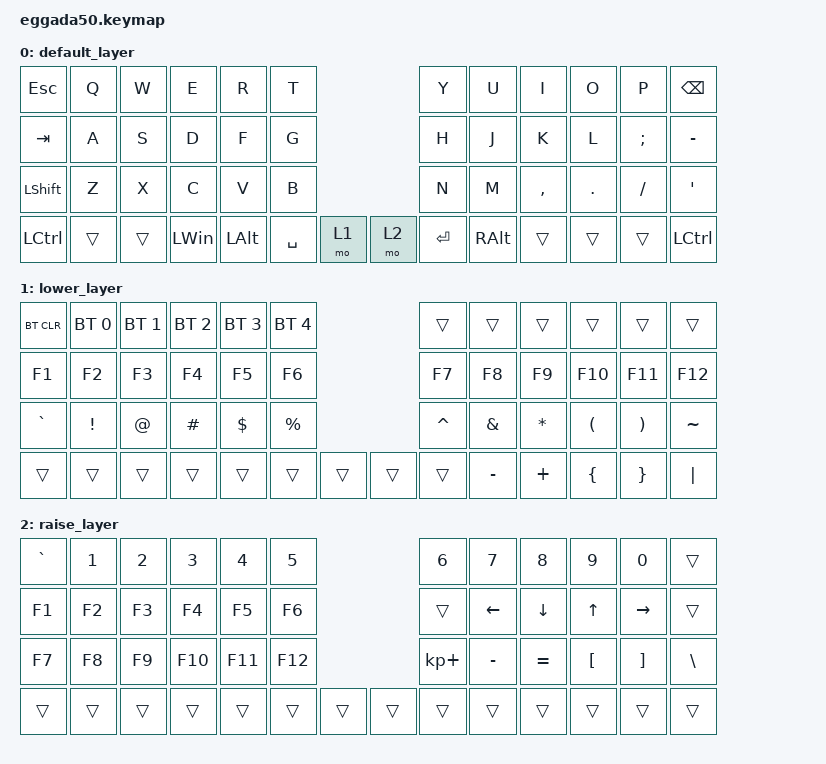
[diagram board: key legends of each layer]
/*
 * Copyright (c) 2020 The ZMK Contributors
 *
 * SPDX-License-Identifier: MIT
 */

#include <behaviors.dtsi>
#include <dt-bindings/zmk/bt.h>
#include <dt-bindings/zmk/keys.h>

/ {
    keymap {
        compatible = "zmk,keymap";

        default_layer {
            // ------------------------------------------------------------------------------------------------------------
            // |  ESC  |  Q  |  W  |  E   |  R   |  T   |                   |  Y   |  U    |  I    |  O   |   P   | BSPC  |
            // |  TAB  |  A  |  S  |  D   |  F   |  G   |                   |  H   |  J    |  K    |  L   |   ;   |   -   |
            // |  CTRL |  Z  |  X  |  C   |  V   |  B   |                   |  N   |  M    |  ,    |  .   |   /   |   '   |
            // | SHIFT |     |     |      |      | LOWER|  SPACE |  | ENTER | RAISE|       |       |      |       | SHIFT |

            bindings = <
&kp ESC           &kp Q   &kp W   &kp E     &kp R         &kp T                      &kp Y      &kp U          &kp I      &kp O    &kp P     &kp BSPC
&kp TAB           &kp A   &kp S   &kp D     &kp F         &kp G                      &kp H      &kp J          &kp K      &kp L    &kp SEMI  &kp MINUS
&kp LEFT_SHIFT    &kp Z   &kp X   &kp C     &kp V         &kp B                      &kp N      &kp M          &kp COMMA  &kp DOT  &kp FSLH  &kp SQT
&kp LEFT_CONTROL  &trans  &trans  &kp LWIN  &kp LEFT_ALT  &kp SPACE  &mo 1    &mo 2  &kp ENTER  &kp RIGHT_ALT  &trans     &trans   &trans    &kp LEFT_CONTROL
            >;
        };

        lower_layer {
            // ------------------------------------------------------------------------------------------------------------
            // | BTCLR | BT1 | BT2 |  BT3 |  BT4 |  BT5 |                   |      |       |       |      |       |       |
            // |  F1   |  F2 |  F3 |  F4  |  F5  |  F6  |                   |  F7  |  F8   |  F9   |  F10 |  F11  |  F12  |
            // |   `   |  !  |  @  |  #   |  $   |  %   |                   |  ^   |  &    |  *    |  (   |   )   |   ~   |
            // |       |     |     |      |      |      |        |  |       |      |  _    |  +    |  {   |   }   |  "|"  |

            bindings = <
&bt BT_CLR  &bt BT_SEL 0  &bt BT_SEL 1  &bt BT_SEL 2  &bt BT_SEL 3  &bt BT_SEL 4                    &trans     &trans     &trans     &trans    &trans    &trans
&kp F1      &kp F2        &kp F3        &kp F4        &kp F5        &kp F6                          &kp F7     &kp F8     &kp F9     &kp F10   &kp F11   &kp F12
&kp GRAVE   &kp EXCL      &kp AT        &kp HASH      &kp DOLLAR    &kp PRCNT                       &kp CARET  &kp AMPS   &kp ASTRK  &kp LPAR  &kp RPAR  &kp TILDE
&trans      &trans        &trans        &trans        &trans        &trans        &trans    &trans  &trans     &kp MINUS  &kp PLUS   &kp LBRC  &kp RBRC  &kp PIPE
            >;
        };

        raise_layer {
            // ------------------------------------------------------------------------------------------------------------
            // |   `   |  1  |  2  |  3   |  4   |  5   |                   |  6   |   7   |   8   |  9   |   0   |       |
            // |   F1  |  F2 |  F3 |  F4  |  F5  |  F6  |                   |      |   <-  |   v   |  ^   |  ->   |       |
            // |   F7  |  F8 |  F9 |  F10 |  F11 |  F12 |                   |  +   |   -   |   =   |  [   |   ]   |   \   |
            // |       |     |     |      |      |      |        |  |       |      |       |       |      |       |       |

            bindings = <
&kp GRAVE  &kp N1  &kp N2  &kp N3   &kp N4   &kp N5                     &kp N6       &kp N7     &kp N8     &kp N9    &kp N0     &trans
&kp F1     &kp F2  &kp F3  &kp F4   &kp F5   &kp F6                     &trans       &kp LEFT   &kp DOWN   &kp UP    &kp RIGHT  &trans
&kp F7     &kp F8  &kp F9  &kp F10  &kp F11  &kp F12                    &kp KP_PLUS  &kp MINUS  &kp EQUAL  &kp LBKT  &kp RBKT   &kp BSLH
&trans     &trans  &trans  &trans   &trans   &trans   &trans    &trans  &trans       &trans     &trans     &trans    &trans     &trans
            >;
        };
    };
};
